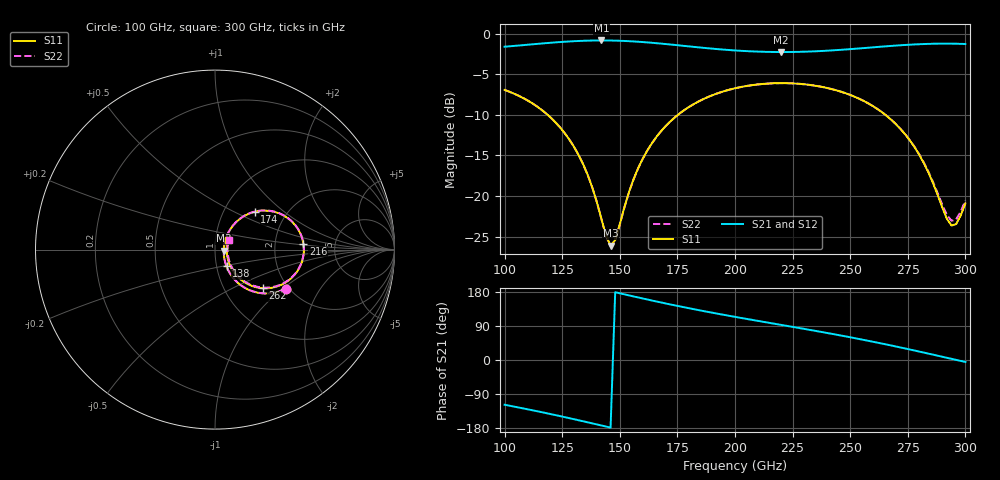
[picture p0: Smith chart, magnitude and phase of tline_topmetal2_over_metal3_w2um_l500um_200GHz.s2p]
#  GHZ S DB R 50
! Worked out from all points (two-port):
!   101 points, 100 GHz to 300 GHz, reference 50 ohm
!   highest |S21| = -0.85 dB at 142 GHz (marker M1); lowest = -2.3 dB at 220 GHz (marker M2)
!   |S21| within 3 dB of the highest: start of sweep to end of sweep
!   lowest |S11| = -26.1 dB at 146 GHz (marker M3), VSWR 1.10, Z = 55.2 - j0.592 ohm
!   |S11| at or under -10 dB: 118.6 GHz to 175.3 GHz (56.66 GHz wide, 38.6 % of centre); 265.2 GHz to end of sweep
!   |S22| runs from -26.2 to -6.1 dB; largest |S21 - S12| = 1e-14
!   S11 on the Smith chart (normalised r, x): 100 GHz: 1.92, -1.05; 138 GHz: 1.12, -0.21; 174 GHz: 1.39, +0.65; 216 GHz: 2.92, +0.26; 262 GHz: 1.51, -0.73; 300 GHz: 1.15, +0.12
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100  -6.94 -29.0  -1.62 -118.2  -1.62 -118.2  -6.94 -28.9
120  -10.35 -48.9  -1.13 -142.7  -1.13 -142.7  -10.35 -48.8
134  -16.04 -57.8  -0.89 -161.6  -0.89 -161.6  -16.04 -57.8
138  -18.91 -55.5  -0.86 -167.2  -0.86 -167.2  -18.92 -55.5
142  -22.80 -43.7  -0.85 -172.8  -0.85 -172.8  -22.82 -43.8
146  -26.12 -6.2  -0.86 -178.4  -0.86 -178.4  -26.19 -6.2
148  -25.43 18.5  -0.87 178.8  -0.87 178.8  -25.49 18.7
154  -19.51 49.9  -0.94 170.5  -0.94 170.5  -19.54 50.2
158  -16.56 53.1  -1.01 165.0  -1.01 165.0  -16.57 53.4
168  -11.99 48.7  -1.24 151.7  -1.24 151.7  -12.00 49.0
174  -10.29 43.6  -1.41 144.0  -1.41 144.0  -10.30 43.9
200  -6.74 18.9  -2.08 113.9  -2.08 113.9  -6.74 19.2
216  -6.13 3.9  -2.27 96.9  -2.27 96.9  -6.14 4.3
220  -6.11 0.2  -2.28 92.7  -2.28 92.7  -6.11 0.6
234  -6.39 -12.8  -2.20 77.8  -2.20 77.8  -6.39 -12.3
248  -7.35 -26.0  -1.96 62.3  -1.96 62.3  -7.35 -25.4
262  -9.33 -39.0  -1.65 45.6  -1.65 45.6  -9.32 -38.3
268  -10.67 -44.2  -1.52 38.0  -1.52 38.0  -10.66 -43.2
280  -14.94 -50.3  -1.31 22.2  -1.31 22.2  -14.89 -48.8
294  -23.65 -6.1  -1.25 3.0  -1.25 3.0  -23.06 -5.2
296  -23.46 11.4  -1.26 0.3  -1.26 0.3  -22.88 11.0
300  -20.92 36.3  -1.29 -5.2  -1.29 -5.2  -20.57 34.6
